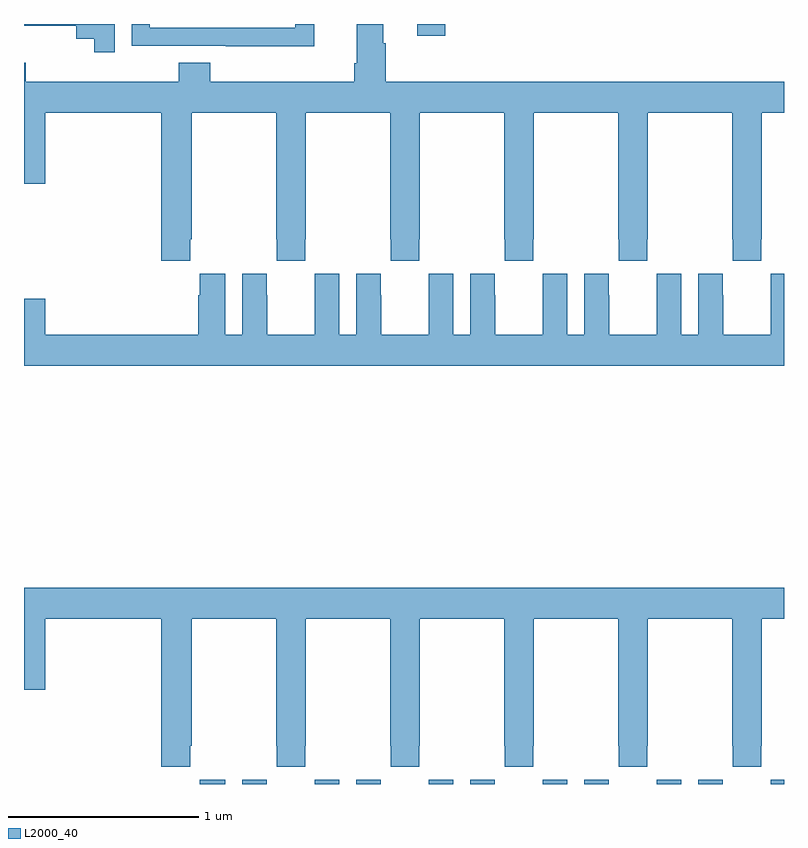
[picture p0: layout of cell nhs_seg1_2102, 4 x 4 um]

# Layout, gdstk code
import gdstk
lib = gdstk.Library(unit=1e-6, precision=1e-09)
def R(c, l, rs):  # rectangles x0, y0, x1, y1
    for r in rs: c.add(gdstk.rectangle(r[:2], r[2:], *l))
def P(c, l, *ps):  # polygons
    for p in ps: c.add(gdstk.Polygon(p, *l))
L2000_40 = (2000, 40)

nhs_seg1_2102 = lib.new_cell('nhs_seg1_2102')
R(nhs_seg1_2102, L2000_40, [(225.926,548.199,226.06,548.221), (226.148,548.199,226.278,548.221), (226.53,548.199,226.66,548.221), (226.748,548.199,226.878,548.221), (227.13,548.199,227.26,548.221), (227.348,548.199,227.478,548.221), (227.73,548.199,227.86,548.221), (227.948,548.199,228.078,548.221), (228.33,548.199,228.46,548.221), (228.548,548.199,228.678,548.221), (228.93,548.199,229,548.221), (227.069,552.138,227.218,552.199)])
P(nhs_seg1_2102, L2000_40, [(225.875,551.065),(225.882,551.065),(225.882,551.732),(226.327,551.732),(226.327,551.065),(226.329,551.065),(226.329,550.953),(226.479,550.953),(226.479,551.065),(226.482,551.065),(226.482,551.732),(226.927,551.732),(226.927,551.065),(226.929,551.065),(226.929,550.953),(227.079,550.953),(227.079,551.065),(227.082,551.065),(227.082,551.732),(227.527,551.732),(227.527,551.065),(227.529,551.065),(227.529,550.953),(227.679,550.953),(227.679,551.065),(227.682,551.065),(227.682,551.732),(228.127,551.732),(228.127,551.065),(228.129,551.065),(228.129,550.953),(228.279,550.953),(228.279,551.065),(228.282,551.065),(228.282,551.732),(228.727,551.732),(228.727,551.065),(228.729,551.065),(228.729,550.953),(228.879,550.953),(228.879,551.065),(228.882,551.065),(228.882,551.732),(229,551.732),(229,551.896),(226.904,551.896),(226.904,552.098),(226.891,552.098),(226.891,552.199),(226.751,552.199),(226.751,551.992),(226.739,551.992),(226.739,551.896),(225.98,551.896),(225.98,551.995),(225.815,551.995),(225.815,551.896),(225.008,551.896),(225.008,551.994),(225,551.994),(225,551.358),(225.112,551.358),(225.112,551.732),(225.722,551.732),(225.722,550.953),(225.875,550.953)],
  [(226.527,552.199),(226.428,552.199),(226.428,552.18),(225.663,552.18),(225.663,552.199),(225.567,552.199),(225.567,552.084),(226.063,552.084),(226.063,552.083),(226.527,552.083)],
  [(225.477,552.199),(225,552.199),(225,552.189),(225.276,552.189),(225.276,552.121),(225.369,552.121),(225.369,552.051),(225.477,552.051)],
  [(228.678,550.772),(228.678,550.885),(228.548,550.885),(228.548,550.564),(228.46,550.564),(228.46,550.885),(228.33,550.885),(228.33,550.772),(228.329,550.772),(228.329,550.564),(228.079,550.564),(228.079,550.772),(228.078,550.772),(228.078,550.885),(227.948,550.885),(227.948,550.564),(227.86,550.564),(227.86,550.885),(227.73,550.885),(227.73,550.772),(227.729,550.772),(227.729,550.564),(227.479,550.564),(227.479,550.772),(227.478,550.772),(227.478,550.885),(227.348,550.885),(227.348,550.564),(227.26,550.564),(227.26,550.885),(227.13,550.885),(227.13,550.772),(227.129,550.772),(227.129,550.564),(226.879,550.564),(226.879,550.772),(226.878,550.772),(226.878,550.885),(226.748,550.885),(226.748,550.564),(226.66,550.564),(226.66,550.885),(226.53,550.885),(226.53,550.772),(226.529,550.772),(226.529,550.564),(226.279,550.564),(226.279,550.772),(226.278,550.772),(226.278,550.885),(226.148,550.885),(226.148,550.564),(226.06,550.564),(226.06,550.885),(225.926,550.885),(225.926,550.772),(225.917,550.772),(225.917,550.564),(225.112,550.564),(225.112,550.753),(225,550.753),(225,550.4),(229,550.4),(229,550.885),(228.93,550.885),(228.93,550.772),(228.929,550.772),(228.929,550.564),(228.679,550.564),(228.679,550.772)],
  [(225.875,548.401),(225.882,548.401),(225.882,549.068),(226.327,549.068),(226.327,548.401),(226.329,548.401),(226.329,548.289),(226.479,548.289),(226.479,548.401),(226.482,548.401),(226.482,549.068),(226.927,549.068),(226.927,548.401),(226.929,548.401),(226.929,548.289),(227.079,548.289),(227.079,548.401),(227.082,548.401),(227.082,549.068),(227.527,549.068),(227.527,548.401),(227.529,548.401),(227.529,548.289),(227.679,548.289),(227.679,548.401),(227.682,548.401),(227.682,549.068),(228.127,549.068),(228.127,548.401),(228.129,548.401),(228.129,548.289),(228.279,548.289),(228.279,548.401),(228.282,548.401),(228.282,549.068),(228.727,549.068),(228.727,548.401),(228.729,548.401),(228.729,548.289),(228.879,548.289),(228.879,548.401),(228.882,548.401),(228.882,549.068),(229,549.068),(229,549.232),(225,549.232),(225,548.694),(225.112,548.694),(225.112,549.068),(225.722,549.068),(225.722,548.289),(225.875,548.289)])

lib.write_gds('nhs_seg1_2102.gds')
